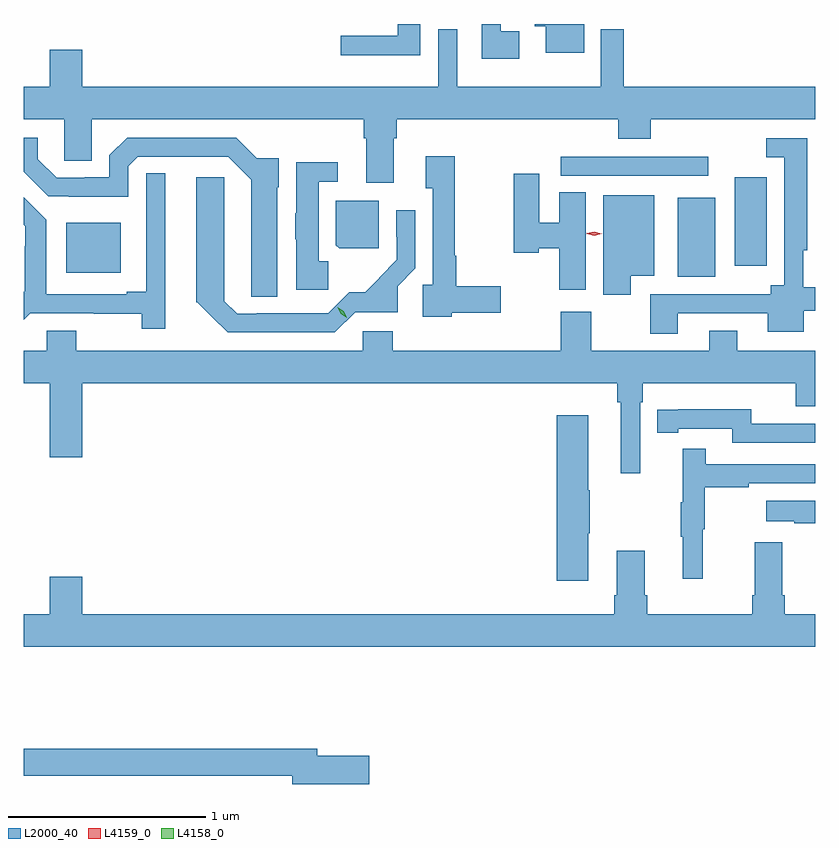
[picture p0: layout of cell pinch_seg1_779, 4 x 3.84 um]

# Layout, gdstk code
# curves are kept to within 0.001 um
import gdstk
lib = gdstk.Library(unit=1e-6, precision=1e-09)
def R(c, l, rs):  # rectangles x0, y0, x1, y1
    for r in rs: c.add(gdstk.rectangle(r[:2], r[2:], *l))
def P(c, l, *ps):  # polygons
    for p in ps: c.add(gdstk.Polygon(p, *l))
L2000_40 = (2000, 40)
L4158_0 = (4158, 0)
L4159_0 = (4159, 0)

pinch_seg1_779 = lib.new_cell('pinch_seg1_779')
R(pinch_seg1_779, L2000_40, [(539.81,573.581,539.998,573.979), (536.72,573.602,536.995,573.853), (540.098,573.636,540.259,574.084), (539.217,574.092,539.962,574.188)])
P(pinch_seg1_779, L2000_40, [(538.509,574.858),(538.393,574.858),(538.393,574.798),(538.107,574.798),(538.107,574.7),(538.509,574.7)],
  [(539.008,574.822),(538.914,574.822),(538.914,574.858),(538.818,574.858),(538.818,574.682),(539.008,574.682)],
  [(539.336,574.858),(539.087,574.858),(539.087,574.847),(539.142,574.847),(539.142,574.712),(539.336,574.712)],
  [(538.375,574.28),(538.388,574.28),(538.388,574.376),(539.507,574.376),(539.507,574.277),(539.672,574.277),(539.672,574.376),(540.504,574.376),(540.504,574.54),(539.537,574.54),(539.537,574.831),(539.421,574.831),(539.421,574.54),(538.695,574.54),(538.695,574.831),(538.599,574.831),(538.599,574.54),(536.8,574.54),(536.8,574.729),(536.636,574.729),(536.636,574.54),(536.504,574.54),(536.504,574.376),(536.708,574.376),(536.708,574.168),(536.848,574.168),(536.848,574.376),(538.223,574.376),(538.223,574.28),(538.235,574.28),(538.235,574.056),(538.375,574.056)],
  [(537.784,574.032),(537.793,574.032),(537.793,574.179),(537.682,574.179),(537.577,574.284),(537.027,574.284),(536.937,574.194),(536.937,574.083),(536.812,574.083),(536.812,574.08),(536.67,574.08),(536.576,574.175),(536.576,574.284),(536.504,574.284),(536.504,574.111),(536.628,573.987),(537.033,573.986),(537.033,574.14),(537.081,574.188),(537.537,574.188),(537.653,574.072),(537.653,573.481),(537.784,573.481)],
  [(539.809,573.396),(540.263,573.396),(540.263,573.302),(540.445,573.302),(540.445,573.41),(540.504,573.41),(540.504,573.527),(540.444,573.527),(540.444,573.715),(540.464,573.715),(540.464,574.281),(540.255,574.281),(540.255,574.185),(540.348,574.185),(540.348,573.538),(540.278,573.538),(540.278,573.492),(539.669,573.492),(539.669,573.294),(539.809,573.294)],
  [(538.668,573.398),(538.915,573.398),(538.915,573.533),(538.69,573.533),(538.69,573.687),(538.681,573.687),(538.681,574.189),(538.535,574.189),(538.535,574.028),(538.572,574.028),(538.572,573.54),(538.52,573.54),(538.52,573.38),(538.668,573.38)],
  [(538.042,573.66),(537.994,573.66),(537.994,574.062),(538.09,574.062),(538.09,574.16),(537.881,574.16),(537.881,573.903),(537.875,573.903),(537.875,573.771),(537.881,573.771),(537.881,573.515),(538.042,573.515)],
  [(537.22,574.103),(537.123,574.103),(537.123,573.505),(537.026,573.505),(537.026,573.492),(536.617,573.492),(536.617,573.869),(536.504,573.982),(536.504,573.844),(536.511,573.837),(536.51,573.505),(536.504,573.505),(536.504,573.363),(536.536,573.396),(537.1,573.395),(537.1,573.318),(537.22,573.318)],
  [(539.344,574.007),(539.21,574.007),(539.21,573.853),(539.11,573.853),(539.11,574.102),(538.981,574.102),(538.981,573.701),(539.106,573.701),(539.106,573.724),(539.21,573.724),(539.21,573.516),(539.344,573.516)],
  [(538.179,573.402),(538.393,573.402),(538.393,573.534),(538.482,573.623),(538.482,573.916),(538.386,573.916),(538.386,573.782),(538.389,573.782),(538.389,573.666),(538.3,573.577),(538.302,573.575),(538.229,573.502),(538.15,573.502),(538.044,573.396),(537.682,573.396),(537.682,573.393),(537.582,573.393),(537.518,573.458),(537.517,574.084),(537.377,574.084),(537.377,573.453),(537.38,573.453),(537.457,573.376),(537.458,573.377),(537.536,573.3),(538.077,573.3)],
  [(539.572,573.587),(539.689,573.587),(539.689,573.994),(539.432,573.994),(539.432,573.491),(539.572,573.491)],
  [(538.297,573.964),(538.082,573.964),(538.082,573.741),(538.098,573.725),(538.297,573.725)],
  [(536.636,572.67),(536.8,572.67),(536.8,573.044),(539.503,573.044),(539.503,572.948),(539.522,572.948),(539.522,572.589),(539.619,572.589),(539.619,572.948),(539.633,572.948),(539.633,573.044),(540.404,573.044),(540.404,572.927),(540.504,572.927),(540.504,573.208),(540.109,573.208),(540.109,573.307),(539.969,573.307),(539.969,573.208),(539.373,573.208),(539.373,573.403),(539.218,573.403),(539.218,573.208),(538.37,573.208),(538.37,573.306),(538.218,573.306),(538.218,573.208),(536.769,573.208),(536.769,573.307),(536.621,573.307),(536.621,573.208),(536.504,573.208),(536.504,573.044),(536.636,573.044)],
  [(540.504,572.838),(540.18,572.838),(540.18,572.911),(539.812,572.911),(539.812,572.91),(539.704,572.91),(539.704,572.794),(539.812,572.794),(539.812,572.814),(540.084,572.814),(540.084,572.742),(540.504,572.742)],
  [(539.356,572.284),(539.364,572.284),(539.364,572.501),(539.356,572.501),(539.356,572.881),(539.198,572.881),(539.198,572.046),(539.356,572.046)],
  [(539.936,572.304),(539.944,572.304),(539.944,572.518),(540.167,572.518),(540.167,572.538),(540.504,572.538),(540.504,572.634),(539.951,572.634),(539.951,572.713),(539.834,572.713),(539.834,572.441),(539.823,572.441),(539.823,572.267),(539.834,572.267),(539.834,572.055),(539.936,572.055)],
  [(540.504,572.449),(540.255,572.449),(540.255,572.345),(540.398,572.345),(540.398,572.335),(540.504,572.335)],
  [(540.504,571.876),(540.35,571.876),(540.35,571.972),(540.337,571.972),(540.337,572.239),(540.197,572.239),(540.197,571.972),(540.185,571.972),(540.185,571.876),(539.654,571.876),(539.654,571.972),(539.641,571.972),(539.641,572.197),(539.501,572.197),(539.501,571.972),(539.489,571.972),(539.489,571.876),(536.8,571.876),(536.8,572.065),(536.636,572.065),(536.636,571.876),(536.504,571.876),(536.504,571.712),(540.504,571.712)],
  [(538.249,571.16),(537.988,571.16),(537.988,571.196),(536.504,571.196),(536.504,571.06),(537.86,571.06),(537.86,571.018),(538.249,571.018)])
P(pinch_seg1_779, L4158_0, [(538.136,573.375),(538.106,573.394),(538.091,573.427),(538.091,573.427),(538.091,573.427),(538.121,573.407),(538.136,573.375),(538.136,573.375)])
P(pinch_seg1_779, L4159_0, [(539.387,573.789),(539.349,573.799),(539.348,573.799),(539.349,573.8),(539.387,573.809),(539.425,573.799),(539.425,573.799),(539.425,573.799)])

lib.write_gds('pinch_seg1_779.gds')
